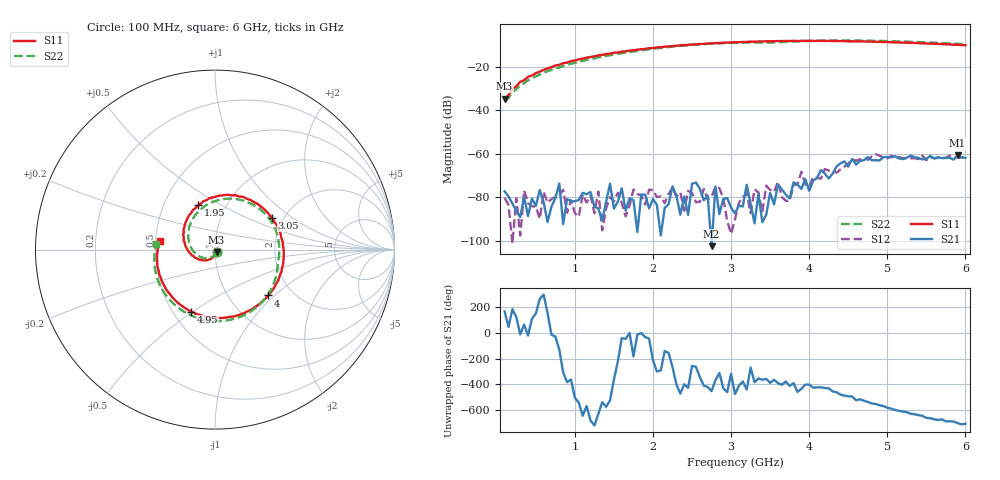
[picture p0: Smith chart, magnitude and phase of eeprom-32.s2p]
! Created with skrf 2.0.0 (http://scikit-rf.org).
# Hz S RI R 50.0
!freq ReS11 ImS11 ReS21 ImS21 ReS12 ImS12 ReS22 ImS22
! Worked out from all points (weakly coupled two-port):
!   119 points, 100 MHz to 6 GHz, reference 50 ohm
!   highest |S21| = -60.70 dB at 5.9 GHz (marker M1); lowest = -102.6 dB at 2.75 GHz (marker M2)
!   lowest |S11| = -34.7 dB at 100 MHz (marker M3), VSWR 1.04, Z = 50.8 - j1.64 ohm
!   |S11| at or under -10 dB: start of sweep to 2.444 GHz; 5.922 GHz to end of sweep
!   |S22| runs from -35.9 to -7.9 dB; largest |S21 - S12| = 0.0003
!   S11 on the Smith chart (normalised r, x): 100 MHz: 1.02, -0.03; 1.95 GHz: 0.74, +0.39; 3.05 GHz: 1.75, +0.71; 4 GHz: 1.51, -0.91; 4.95 GHz: 0.62, -0.49; 6 GHz: 0.53, +0.05
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1e8  0.00869 -0.0161  -0.00013 4.03e-05  -8.31e-05 4.84e-05  0.00839 -0.0137
1.1e9  -0.1527 -0.00189  2.44e-05 0.000123  -7.61e-05 -8.58e-05  -0.1351 0.0136
1.4e9  -0.1777 0.0819  -6.69e-05 4.15e-05  3.72e-05 4.12e-05  -0.1497 0.0953
1.45e9  -0.1741 0.096  -0.000193 -6.19e-05  -7.86e-05 6.03e-05  -0.1461 0.1091
1.95e9  -0.0952 0.248  3.75e-05 -3.99e-05  0.000134 -6.36e-05  -0.0526 0.2458
2.1e9  -0.047 0.2759  4.71e-06 1.23e-05  -7.76e-05 6.89e-05  -0.00134 0.269
2.45e9  0.0942 0.3022  1.59e-05 -3.57e-05  0.000112 -8.27e-05  0.1408 0.2766
2.55e9  0.1356 0.2952  -2.17e-05 0.000214  7e-05 3.09e-05  0.1813 0.2633
2.75e9  0.2165 0.2651  -1.7e-07 -7.44e-06  5.81e-05 8.49e-05  0.2575 0.2193
3.05e9  0.3182 0.177  -1.75e-05 -3.86e-05  -4.31e-06 -3.07e-05  0.3385 0.1092
3.2e9  0.3531 0.1119  3.47e-05 -0.000189  0.000122 1.44e-05  0.354 0.0442
3.55e9  0.382 -0.0522  6.78e-05 -5.08e-06  0.000114 -6.62e-05  0.349 -0.0922
3.6e9  0.3803 -0.0755  0.000167 -9.54e-05  0.000191 -0.000119  0.3475 -0.11
3.75e9  0.3598 -0.1481  5.91e-05 -7.2e-05  7.33e-05 -3.65e-05  0.3334 -0.1694
3.8e9  0.3523 -0.1722  0.000191 -0.000108  2.33e-05 -0.000192  0.3268 -0.1913
3.9e9  0.3281 -0.2148  4.47e-05 -0.000148  0.000331 -0.000191  0.3067 -0.2325
4e9  0.2973 -0.2551  0.000106 -9.11e-05  9.43e-05 -0.000144  0.2809 -0.2712
4.05e9  0.2815 -0.2722  0.000102 -0.000215  0.000151 -0.000249  0.2659 -0.2892
4.95e9  -0.1317 -0.345  -0.000741 0.000367  -0.000727 0.000351  -0.1445 -0.3607
5.05e9  -0.173 -0.3212  -0.000562 0.000602  -0.000525 0.000729  -0.1865 -0.3372
5.9e9  -0.3179 0.00704  0.000854 0.000348  0.000794 0.00019  -0.3355 -0.011
6e9  -0.3083 0.0467  0.000763 0.000232  0.000819 0.00012  -0.3265 0.0286
